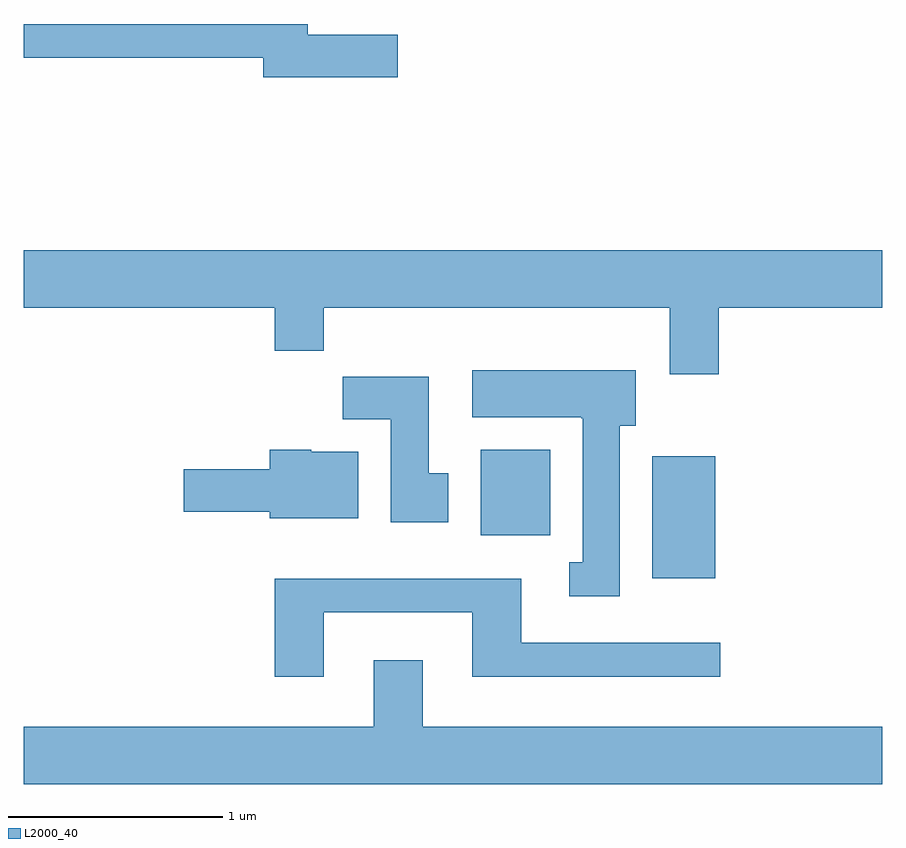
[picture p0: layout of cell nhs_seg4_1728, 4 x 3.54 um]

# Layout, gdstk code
import gdstk
lib = gdstk.Library(unit=1e-6, precision=1e-09)
def R(c, l, rs):  # rectangles x0, y0, x1, y1
    for r in rs: c.add(gdstk.rectangle(r[:2], r[2:], *l))
def P(c, l, *ps):  # polygons
    for p in ps: c.add(gdstk.Polygon(p, *l))
L2000_40 = (2000, 40)

nhs_seg4_1728 = lib.new_cell('nhs_seg4_1728')
R(nhs_seg4_1728, L2000_40, [(238.541,1311.236,238.834,1311.804), (237.741,1311.436,238.064,1311.834)])
P(nhs_seg4_1728, L2000_40, [(237.354,1313.769),(236.934,1313.769),(236.934,1313.819),(235.611,1313.819),(235.611,1313.661),(236.726,1313.661),(236.726,1313.571),(237.354,1313.571)],
  [(238.849,1312.496),(239.611,1312.496),(239.611,1312.764),(235.611,1312.764),(235.611,1312.496),(236.781,1312.496),(236.781,1312.296),(237.009,1312.296),(237.009,1312.496),(238.621,1312.496),(238.621,1312.186),(238.849,1312.186)],
  [(238.389,1311.946),(238.464,1311.946),(238.464,1312.204),(237.701,1312.204),(237.701,1311.986),(238.21,1311.986),(238.21,1311.98),(238.216,1311.98),(238.216,1311.309),(238.153,1311.309),(238.153,1311.151),(238.389,1311.151)],
  [(237.589,1311.724),(237.499,1311.724),(237.499,1312.174),(237.096,1312.174),(237.096,1311.976),(237.321,1311.976),(237.321,1311.496),(237.589,1311.496)],
  [(237.169,1311.824),(236.95,1311.824),(236.95,1311.834),(236.756,1311.834),(236.756,1311.744),(236.356,1311.744),(236.356,1311.546),(236.756,1311.546),(236.756,1311.516),(237.169,1311.516)],
  [(237.009,1311.076),(237.701,1311.076),(237.701,1310.776),(238.858,1310.776),(238.858,1310.934),(237.929,1310.934),(237.929,1311.234),(236.781,1311.234),(236.781,1310.776),(237.009,1310.776)],
  [(239.611,1310.544),(237.469,1310.544),(237.469,1310.854),(237.241,1310.854),(237.241,1310.544),(235.611,1310.544),(235.611,1310.276),(239.611,1310.276)])

lib.write_gds('nhs_seg4_1728.gds')
